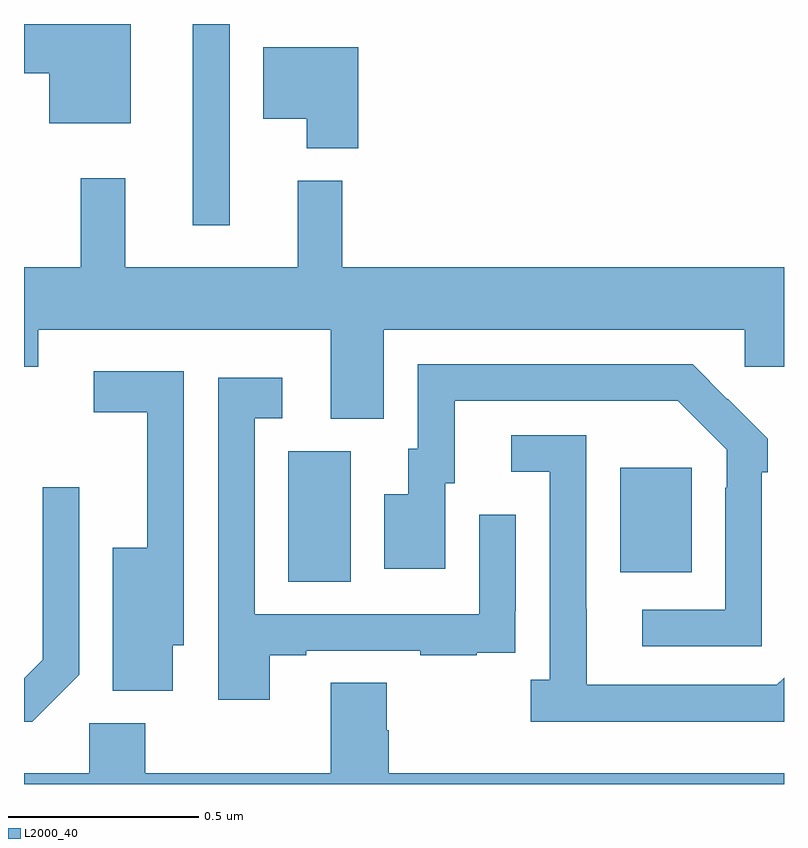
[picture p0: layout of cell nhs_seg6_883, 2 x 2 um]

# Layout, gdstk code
import gdstk
lib = gdstk.Library(unit=1e-6, precision=1e-09)
def R(c, l, rs):  # rectangles x0, y0, x1, y1
    for r in rs: c.add(gdstk.rectangle(r[:2], r[2:], *l))
def P(c, l, *ps):  # polygons
    for p in ps: c.add(gdstk.Polygon(p, *l))
L2000_40 = (2000, 40)

nhs_seg6_883 = lib.new_cell('nhs_seg6_883')
R(nhs_seg6_883, L2000_40, [(122.696,920.032,122.86,920.376), (123.569,920.057,123.757,920.332), (122.444,920.97,122.541,921.5)])
P(nhs_seg6_883, L2000_40, [(122.281,921.5),(122,921.5),(122,921.371),(122.066,921.371),(122.066,921.239),(122.281,921.239)],
  [(122.879,921.439),(122.63,921.439),(122.63,921.251),(122.744,921.251),(122.744,921.173),(122.879,921.173)],
  [(122.947,920.696),(123.897,920.696),(123.897,920.598),(124,920.598),(124,920.86),(122.837,920.86),(122.837,921.088),(122.72,921.088),(122.72,920.86),(122.267,920.86),(122.267,921.094),(122.149,921.094),(122.149,920.86),(122,920.86),(122,920.598),(122.038,920.598),(122.038,920.696),(122.807,920.696),(122.807,920.461),(122.947,920.461)],
  [(123.942,920.321),(123.957,920.321),(123.957,920.409),(123.852,920.514),(123.851,920.513),(123.76,920.604),(123.036,920.604),(123.036,920.382),(123.011,920.382),(123.011,920.263),(122.948,920.263),(122.948,920.067),(123.109,920.067),(123.109,920.292),(123.133,920.292),(123.133,920.508),(123.721,920.508),(123.849,920.379),(123.849,920.279),(123.846,920.279),(123.846,919.959),(123.627,919.959),(123.627,919.863),(123.942,919.863)],
  [(122.392,919.865),(122.421,919.865),(122.421,920.586),(122.184,920.586),(122.184,920.478),(122.324,920.478),(122.324,920.122),(122.234,920.122),(122.234,919.746),(122.392,919.746)],
  [(122.647,919.839),(122.743,919.839),(122.743,919.851),(123.043,919.851),(123.043,919.839),(123.191,919.839),(123.191,919.845),(123.293,919.845),(123.293,919.954),(123.294,919.954),(123.294,920.209),(123.198,920.209),(123.198,919.947),(122.607,919.947),(122.607,920.463),(122.68,920.463),(122.68,920.569),(122.511,920.569),(122.511,919.722),(122.647,919.722)],
  [(124,919.78),(123.981,919.761),(123.481,919.761),(123.481,919.961),(123.48,919.961),(123.48,920.418),(123.282,920.418),(123.282,920.322),(123.384,920.322),(123.384,919.774),(123.333,919.774),(123.333,919.664),(124,919.664)],
  [(122.145,919.787),(122.145,920.281),(122.049,920.281),(122.049,919.827),(122,919.778),(122,919.664),(122.022,919.664)],
  [(124,919.528),(122.96,919.528),(122.96,919.641),(122.955,919.641),(122.955,919.766),(122.807,919.766),(122.807,919.528),(122.319,919.528),(122.319,919.66),(122.172,919.66),(122.172,919.528),(122,919.528),(122,919.5),(124,919.5)])

lib.write_gds('nhs_seg6_883.gds')
